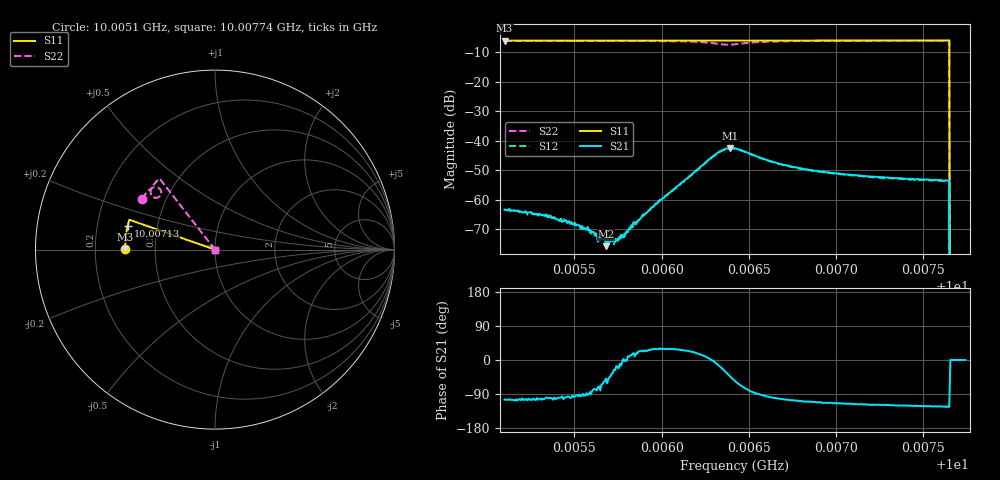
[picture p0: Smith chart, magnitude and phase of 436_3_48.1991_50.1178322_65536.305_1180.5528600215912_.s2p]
#  HZ  S  RI  R  50.00
! Rohde & Schwarz Vector Network Analyzer
! Rohde-Schwarz,ZNB20-2Port,1311601062101988,3.16
! Created: UTC 3/20/2024, 11:55:39 AM
! freq[Hz]  re:S11  im:S11  re:S21  im:S21  re:S12  im:S12  re:S22  im:S22
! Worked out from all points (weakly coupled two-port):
!   401 points, 10.0051 GHz to 10.00774 GHz, reference 50 ohm
!   highest |S21| = -42.40 dB at 10.00639 GHz (marker M1); lowest = -75.7 dB at 10.00568 GHz (marker M2)
!   lowest |S11| = -6.0 dB at 10.0051 GHz (marker M3), VSWR 3.00, Z = 16.7 + j0.168 ohm
!   |S11| at or under -10 dB: 10.00765 GHz to end of sweep
!   |S22| runs from - to -6.0 dB; largest |S21 - S12| = 0.00045
!   S11 on the Smith chart (normalised r, x): 10.0051 GHz: 0.33, +0.00; 10.00713 GHz: 0.33, +0.12; 10.00774 GHz: 1.00, +0.00
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1.00051e10  -0.5001 0.00377  -0.00017 -0.00066  -0.000132 -0.000666  -0.4057 0.2833
1.0005337e10  -0.5002 0.0193  -8.54e-05 -0.00056  -7.76e-05 -0.000546  -0.3965 0.2973
1.0005489e10  -0.4999 0.0292  -2.41e-05 -0.000382  -2.2e-05 -0.000397  -0.3902 0.3063
1.0005542e10  -0.5 0.0326  -2.54e-05 -0.00036  2.34e-05 -0.000326  -0.3877 0.3096
1.0005588e10  -0.4999 0.0356  2.79e-05 -0.000304  1.52e-05 -0.000281  -0.3854 0.3124
1.0005635e10  -0.4998 0.0385  5.9e-05 -0.000186  6.15e-05 -0.000237  -0.3832 0.3153
1.0005661e10  -0.4996 0.0403  9.98e-05 -0.000199  0.000103 -0.000205  -0.3818 0.3169
1.0005681e10  -0.4995 0.0415  0.000107 -0.000123  0.000116 -0.000159  -0.3809 0.318
1.0005734e10  -0.4994 0.045  0.000173 -8.74e-05  0.000177 -0.000122  -0.3779 0.3215
1.000578e10  -0.4992 0.0481  0.00023 1.03e-05  0.000243 -8.22e-06  -0.3754 0.3242
1.0005826e10  -0.499 0.0509  0.00036 8e-05  0.000335 7.78e-05  -0.3726 0.3272
1.0005985e10  -0.4983 0.0612  0.000838 0.000483  0.000787 0.000481  -0.3606 0.3377
1.0006302e10  -0.4955 0.0816  0.0057 -0.000474  0.00558 -0.000186  -0.3038 0.3332
1.0006394e10  -0.4944 0.087  0.00546 -0.00527  0.00558 -0.00487  -0.3128 0.2933
1.0006421e10  -0.4942 0.0886  0.00425 -0.00614  0.00447 -0.0058  -0.3249 0.289
1.0006665e10  -0.4924 0.1042  -0.00082 -0.00412  -0.000627 -0.00406  -0.3579 0.3307
1.0006863e10  -0.4899 0.117  -0.0011 -0.00298  -0.000924 -0.00295  -0.3492 0.3514
1.0007134e10  -0.4861 0.134  -0.00117 -0.00231  -0.00106 -0.00233  -0.3354 0.3697
1.0007306e10  -0.4834 0.1449  -0.00115 -0.00209  -0.00105 -0.00207  -0.3267 0.3792
1.0007636e10  -0.4775 0.1653  -0.00113 -0.00179  -0.00104 -0.00182  -0.31 0.3955
1.0007669e10  0 0  0 0  0 0  0 0
1.0007741e10  0 0  0 0  0 0  0 0
